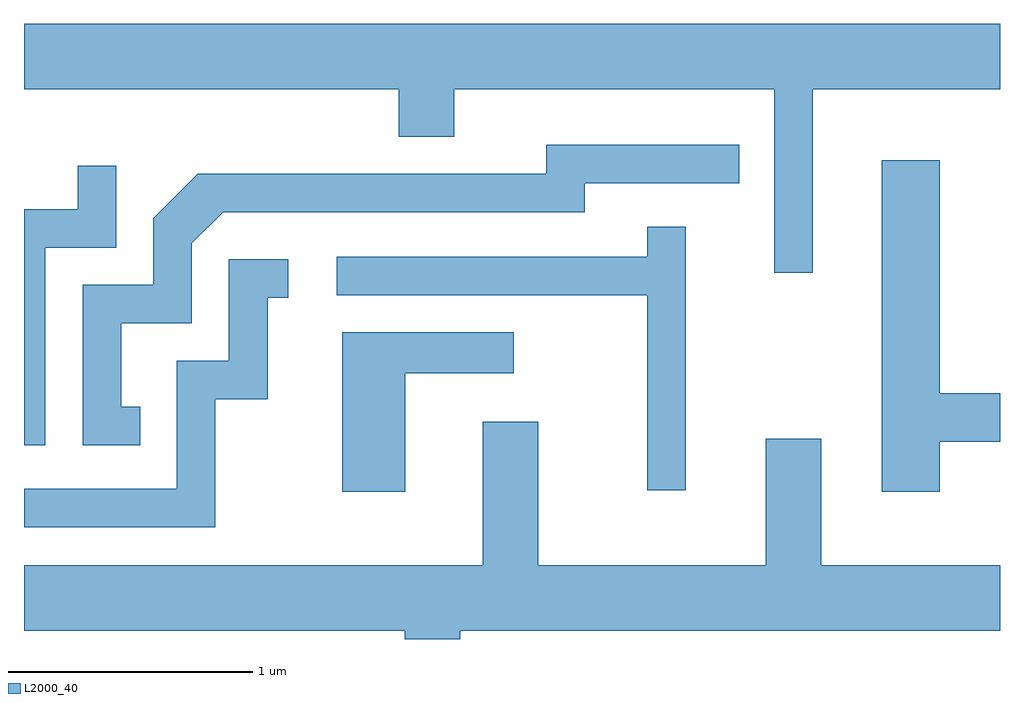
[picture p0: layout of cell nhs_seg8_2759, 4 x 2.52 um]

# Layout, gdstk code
import gdstk
lib = gdstk.Library(unit=1e-6, precision=1e-09)
def P(c, l, *ps):  # polygons
    for p in ps: c.add(gdstk.Polygon(p, *l))
L2000_40 = (2000, 40)

nhs_seg8_2759 = lib.new_cell('nhs_seg8_2759')
P(nhs_seg8_2759, L2000_40, [(270.844,1878.596),(271.611,1878.596),(271.611,1878.864),(267.611,1878.864),(267.611,1878.596),(269.146,1878.596),(269.146,1878.401),(269.374,1878.401),(269.374,1878.596),(270.686,1878.596),(270.686,1877.843),(270.844,1877.843)],
  [(268.088,1877.294),(268.009,1877.294),(268.009,1877.636),(268.299,1877.636),(268.299,1877.964),(268.427,1878.091),(269.909,1878.091),(269.909,1878.211),(270.543,1878.211),(270.543,1878.369),(269.751,1878.369),(269.751,1878.249),(268.324,1878.249),(268.141,1878.067),(268.141,1877.794),(267.851,1877.794),(267.851,1877.136),(268.088,1877.136)],
  [(271.364,1877.151),(271.611,1877.151),(271.611,1877.349),(271.364,1877.349),(271.364,1878.304),(271.126,1878.304),(271.126,1876.946),(271.364,1876.946)],
  [(267.699,1877.946),(267.989,1877.946),(267.989,1878.283),(267.831,1878.283),(267.831,1878.104),(267.611,1878.104),(267.611,1877.136),(267.699,1877.136)],
  [(270.324,1878.033),(270.166,1878.033),(270.166,1877.909),(268.893,1877.909),(268.893,1877.751),(270.166,1877.751),(270.166,1876.953),(270.324,1876.953)],
  [(268.394,1877.326),(268.609,1877.326),(268.609,1877.741),(268.693,1877.741),(268.693,1877.899),(268.451,1877.899),(268.451,1877.484),(268.236,1877.484),(268.236,1876.959),(267.611,1876.959),(267.611,1876.801),(268.394,1876.801)],
  [(269.174,1877.431),(269.618,1877.431),(269.618,1877.599),(268.916,1877.599),(268.916,1876.946),(269.174,1876.946)],
  [(269.399,1876.376),(271.611,1876.376),(271.611,1876.644),(270.879,1876.644),(270.879,1877.164),(270.651,1877.164),(270.651,1876.644),(269.719,1876.644),(269.719,1877.234),(269.491,1877.234),(269.491,1876.644),(267.611,1876.644),(267.611,1876.376),(269.171,1876.376),(269.171,1876.342),(269.399,1876.342)])

lib.write_gds('nhs_seg8_2759.gds')
